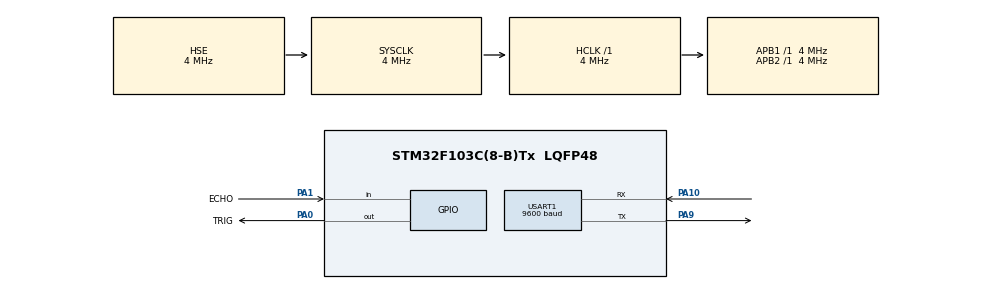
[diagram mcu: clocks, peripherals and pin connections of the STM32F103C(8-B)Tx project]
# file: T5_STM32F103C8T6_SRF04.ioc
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Mcu.Family=STM32F1
Mcu.Name=STM32F103C(8-B)Tx
Mcu.Package=LQFP48
NVIC.PriorityGroup=NVIC_PRIORITYGROUP_4
PA0-WKUP.GPIO_Label=TRIG
PA0-WKUP.Signal=GPIO_Output
PA1.GPIO_Label=ECHO
PA1.Signal=GPIO_Input
PA10.Mode=Asynchronous
PA10.Signal=USART1_RX
PA13.Mode=Serial_Wire
PA13.Signal=SYS_JTMS-SWDIO
PA14.Mode=Serial_Wire
PA14.Signal=SYS_JTCK-SWCLK
PA9.Mode=Asynchronous
PA9.Signal=USART1_TX
PD0-OSC_IN.Mode=HSE-External-Oscillator
PD0-OSC_IN.Signal=RCC_OSC_IN
PD1-OSC_OUT.Mode=HSE-External-Oscillator
PD1-OSC_OUT.Signal=RCC_OSC_OUT
ProjectManager.HeapSize=0x200
ProjectManager.StackSize=0x400
ProjectManager.TargetToolchain=MDK-ARM V5.32
RCC.AHBFreq_Value=4000000
RCC.APB1Freq_Value=4000000
RCC.APB1TimFreq_Value=4000000
RCC.APB2Freq_Value=4000000
RCC.APB2TimFreq_Value=4000000
RCC.HCLKFreq_Value=4000000
RCC.HSE_VALUE=4000000
RCC.PLLMUL=RCC_PLL_MUL10
RCC.SYSCLKFreq_VALUE=4000000
RCC.SYSCLKSource=RCC_SYSCLKSOURCE_HSE
RCC.USBFreq_Value=40000000
TIM1.Prescaler=1
USART1.BaudRate=9600
USART1.VirtualMode=VM_ASYNC
VP_TIM1_VS_ClockSourceINT.Mode=Internal
board=custom

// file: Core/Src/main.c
/* USER CODE BEGIN Header */
/**
  ******************************************************************************
  * @file           : main.c
  * @brief          : Main program body
  ******************************************************************************
  * @attention
  *
  * Copyright (c) 2023 STMicroelectronics.
  * All rights reserved.
  *
  * This software is licensed under terms that can be found in the LICENSE file
  * in the root directory of this software component.
  * If no LICENSE file comes with this software, it is provided AS-IS.
  *
  ******************************************************************************
  */
/* USER CODE END Header */
#include "main.h"

/* USER CODE BEGIN Includes */
#include <stdio.h>
struct __FILE
{
  int handle;
};
FILE __stdout;

/* USER CODE END Includes */

TIM_HandleTypeDef htim1;

UART_HandleTypeDef huart1;

/* USER CODE BEGIN PV */
int fputc(int ch, FILE *f)
{
  HAL_UART_Transmit(&huart1,(uint8_t *)&ch,1,HAL_MAX_DELAY);
  return ch;
}

/* USER CODE END PV */

void SystemClock_Config(void);
static void MX_GPIO_Init(void);
static void MX_TIM1_Init(void);
static void MX_USART1_UART_Init(void);

int main(void)
{

  /* MCU Configuration--------------------------------------------------------*/

  /* Reset of all peripherals, Initializes the Flash interface and the Systick. */
  HAL_Init();

  /* Configure the system clock */
  SystemClock_Config();

  /* Initialize all configured peripherals */
  MX_GPIO_Init();
  MX_TIM1_Init();
  MX_USART1_UART_Init();
  /* USER CODE BEGIN 2 */
	#define DELAY10US   20
	HAL_TIM_Base_Start(&htim1);
	uint16_t SRF04_Cnt = 0;
	float SRF04_us = 0;
	float SRF04_cm = 0;
  /* USER CODE END 2 */

  /* Infinite loop */
  /* USER CODE BEGIN WHILE */
  while (1)
  {
		HAL_GPIO_WritePin(TRIG_GPIO_Port,TRIG_Pin,GPIO_PIN_SET);
		__HAL_TIM_SET_COUNTER(&htim1,0);
		while(__HAL_TIM_GET_COUNTER(&htim1) < DELAY10US); // wait here and check for 10us
 		HAL_GPIO_WritePin(TRIG_GPIO_Port,TRIG_Pin,GPIO_PIN_RESET);
		while(HAL_GPIO_ReadPin(ECHO_GPIO_Port,ECHO_Pin) == 0);
		__HAL_TIM_SET_COUNTER(&htim1,0);
		while(HAL_GPIO_ReadPin(ECHO_GPIO_Port,ECHO_Pin) != 0);
		SRF04_Cnt = __HAL_TIM_GET_COUNTER(&htim1);
		SRF04_us = SRF04_Cnt*0.5;
		SRF04_cm = SRF04_us/58;
		printf("D=%f ",SRF04_cm);
		HAL_Delay(400);
		/* USER CODE END WHILE */

  }
}

void SystemClock_Config(void)
{
  RCC_OscInitTypeDef RCC_OscInitStruct = {0};
  RCC_ClkInitTypeDef RCC_ClkInitStruct = {0};

  /** Initializes the RCC Oscillators according to the specified parameters
  * in the RCC_OscInitTypeDef structure.
  */
  RCC_OscInitStruct.OscillatorType = RCC_OSCILLATORTYPE_HSE;
  RCC_OscInitStruct.HSEState = RCC_HSE_ON;
  RCC_OscInitStruct.PLL.PLLState = RCC_PLL_NONE;
  if (HAL_RCC_OscConfig(&RCC_OscInitStruct) != HAL_OK)
  {
    Error_Handler();
  }

  /** Initializes the CPU, AHB and APB buses clocks
  */
  RCC_ClkInitStruct.ClockType = RCC_CLOCKTYPE_HCLK|RCC_CLOCKTYPE_SYSCLK
                              |RCC_CLOCKTYPE_PCLK1|RCC_CLOCKTYPE_PCLK2;
  RCC_ClkInitStruct.SYSCLKSource = RCC_SYSCLKSOURCE_HSE;
  RCC_ClkInitStruct.AHBCLKDivider = RCC_SYSCLK_DIV1;
  RCC_ClkInitStruct.APB1CLKDivider = RCC_HCLK_DIV1;
  RCC_ClkInitStruct.APB2CLKDivider = RCC_HCLK_DIV1;

  if (HAL_RCC_ClockConfig(&RCC_ClkInitStruct, FLASH_LATENCY_0) != HAL_OK)
  {
    Error_Handler();
  }
}

static void MX_TIM1_Init(void)
{

  TIM_ClockConfigTypeDef sClockSourceConfig = {0};
  TIM_MasterConfigTypeDef sMasterConfig = {0};

  htim1.Instance = TIM1;
  htim1.Init.Prescaler = 1;
  htim1.Init.CounterMode = TIM_COUNTERMODE_UP;
  htim1.Init.Period = 65535;
  htim1.Init.ClockDivision = TIM_CLOCKDIVISION_DIV1;
  htim1.Init.RepetitionCounter = 0;
  htim1.Init.AutoReloadPreload = TIM_AUTORELOAD_PRELOAD_DISABLE;
  if (HAL_TIM_Base_Init(&htim1) != HAL_OK)
  {
    Error_Handler();
  }
  sClockSourceConfig.ClockSource = TIM_CLOCKSOURCE_INTERNAL;
  if (HAL_TIM_ConfigClockSource(&htim1, &sClockSourceConfig) != HAL_OK)
  {
    Error_Handler();
  }
  sMasterConfig.MasterOutputTrigger = TIM_TRGO_RESET;
  sMasterConfig.MasterSlaveMode = TIM_MASTERSLAVEMODE_DISABLE;
  if (HAL_TIMEx_MasterConfigSynchronization(&htim1, &sMasterConfig) != HAL_OK)
  {
    Error_Handler();
  }

}

static void MX_USART1_UART_Init(void)
{

  huart1.Instance = USART1;
  huart1.Init.BaudRate = 9600;
  huart1.Init.WordLength = UART_WORDLENGTH_8B;
  huart1.Init.StopBits = UART_STOPBITS_1;
  huart1.Init.Parity = UART_PARITY_NONE;
  huart1.Init.Mode = UART_MODE_TX_RX;
  huart1.Init.HwFlowCtl = UART_HWCONTROL_NONE;
  huart1.Init.OverSampling = UART_OVERSAMPLING_16;
  if (HAL_UART_Init(&huart1) != HAL_OK)
  {
    Error_Handler();
  }

}

static void MX_GPIO_Init(void)
{
  GPIO_InitTypeDef GPIO_InitStruct = {0};

  /* GPIO Ports Clock Enable */
  __HAL_RCC_GPIOC_CLK_ENABLE();
  __HAL_RCC_GPIOD_CLK_ENABLE();
  __HAL_RCC_GPIOA_CLK_ENABLE();
  __HAL_RCC_GPIOB_CLK_ENABLE();

  /*Configure GPIO pin Output Level */
  HAL_GPIO_WritePin(TRIG_GPIO_Port, TRIG_Pin, GPIO_PIN_RESET);

  /*Configure GPIO pins : PC13 PC14 PC15 */
  GPIO_InitStruct.Pin = GPIO_PIN_13|GPIO_PIN_14|GPIO_PIN_15;
  GPIO_InitStruct.Mode = GPIO_MODE_ANALOG;
  HAL_GPIO_Init(GPIOC, &GPIO_InitStruct);

  /*Configure GPIO pin : TRIG_Pin */
  GPIO_InitStruct.Pin = TRIG_Pin;
  GPIO_InitStruct.Mode = GPIO_MODE_OUTPUT_PP;
  GPIO_InitStruct.Pull = GPIO_NOPULL;
  GPIO_InitStruct.Speed = GPIO_SPEED_FREQ_LOW;
  HAL_GPIO_Init(TRIG_GPIO_Port, &GPIO_InitStruct);

  /*Configure GPIO pin : ECHO_Pin */
  GPIO_InitStruct.Pin = ECHO_Pin;
  GPIO_InitStruct.Mode = GPIO_MODE_INPUT;
  GPIO_InitStruct.Pull = GPIO_NOPULL;
  HAL_GPIO_Init(ECHO_GPIO_Port, &GPIO_InitStruct);

  /*Configure GPIO pins : PA2 PA3 PA4 PA5
                           PA6 PA7 PA8 PA11
                           PA12 PA15 */
  GPIO_InitStruct.Pin = GPIO_PIN_2|GPIO_PIN_3|GPIO_PIN_4|GPIO_PIN_5
                          |GPIO_PIN_6|GPIO_PIN_7|GPIO_PIN_8|GPIO_PIN_11
                          |GPIO_PIN_12|GPIO_PIN_15;
  GPIO_InitStruct.Mode = GPIO_MODE_ANALOG;
  HAL_GPIO_Init(GPIOA, &GPIO_InitStruct);

  /*Configure GPIO pins : PB0 PB1 PB2 PB10
                           PB11 PB12 PB13 PB14
                           PB15 PB3 PB4 PB5
                           PB6 PB7 PB8 PB9 */
  GPIO_InitStruct.Pin = GPIO_PIN_0|GPIO_PIN_1|GPIO_PIN_2|GPIO_PIN_10
                          |GPIO_PIN_11|GPIO_PIN_12|GPIO_PIN_13|GPIO_PIN_14
                          |GPIO_PIN_15|GPIO_PIN_3|GPIO_PIN_4|GPIO_PIN_5
                          |GPIO_PIN_6|GPIO_PIN_7|GPIO_PIN_8|GPIO_PIN_9;
  GPIO_InitStruct.Mode = GPIO_MODE_ANALOG;
  HAL_GPIO_Init(GPIOB, &GPIO_InitStruct);

}

void Error_Handler(void)
{
  __disable_irq();
  while (1)
  {
  }
}
